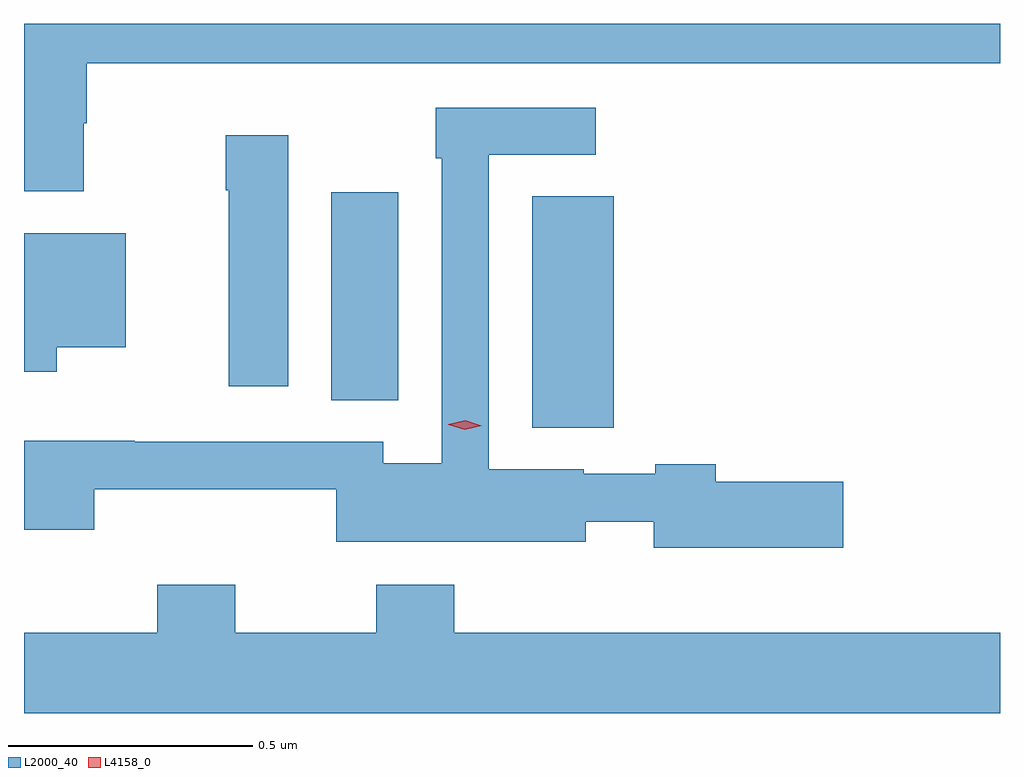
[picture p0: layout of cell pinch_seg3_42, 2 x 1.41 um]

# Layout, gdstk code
import gdstk
lib = gdstk.Library(unit=1e-6, precision=1e-09)
def R(c, l, rs):  # rectangles x0, y0, x1, y1
    for r in rs: c.add(gdstk.rectangle(r[:2], r[2:], *l))
def P(c, l, *ps):  # polygons
    for p in ps: c.add(gdstk.Polygon(p, *l))
L2000_40 = (2000, 40)
L4158_0 = (4158, 0)

pinch_seg3_42 = lib.new_cell('pinch_seg3_42')
R(pinch_seg3_42, L2000_40, [(1107.041,732.137,1107.208,732.611), (1106.63,732.193,1106.767,732.619)])
P(pinch_seg3_42, L2000_40, [(1106.122,732.761),(1106.129,732.761),(1106.129,732.884),(1108,732.884),(1108,732.964),(1106,732.964),(1106,732.621),(1106.122,732.621)],
  [(1107.679,732.026),(1107.418,732.026),(1107.418,732.062),(1107.294,732.062),(1107.294,732.042),(1107.147,732.042),(1107.147,732.052),(1106.952,732.052),(1106.952,732.696),(1107.172,732.696),(1107.172,732.792),(1106.844,732.792),(1106.844,732.689),(1106.856,732.689),(1106.856,732.064),(1106.736,732.064),(1106.736,732.108),(1106.227,732.108),(1106.227,732.11),(1106,732.11),(1106,731.928),(1106.144,731.928),(1106.144,732.011),(1106.64,732.011),(1106.64,731.903),(1107.151,731.903),(1107.151,731.944),(1107.29,731.944),(1107.29,731.891),(1107.679,731.891)],
  [(1106.542,732.736),(1106.413,732.736),(1106.413,732.623),(1106.42,732.623),(1106.42,732.222),(1106.542,732.222)],
  [(1106.067,732.302),(1106.209,732.302),(1106.209,732.535),(1106,732.535),(1106,732.251),(1106.067,732.251)],
  [(1108,731.716),(1106.882,731.716),(1106.882,731.815),(1106.722,731.815),(1106.722,731.716),(1106.433,731.716),(1106.433,731.815),(1106.273,731.815),(1106.273,731.716),(1106,731.716),(1106,731.552),(1108,731.552)])
P(pinch_seg3_42, L4158_0, [(1106.903,732.132),(1106.869,732.143),(1106.869,732.143),(1106.869,732.144),(1106.904,732.152),(1106.938,732.141),(1106.938,732.141),(1106.938,732.141)])

lib.write_gds('pinch_seg3_42.gds')
